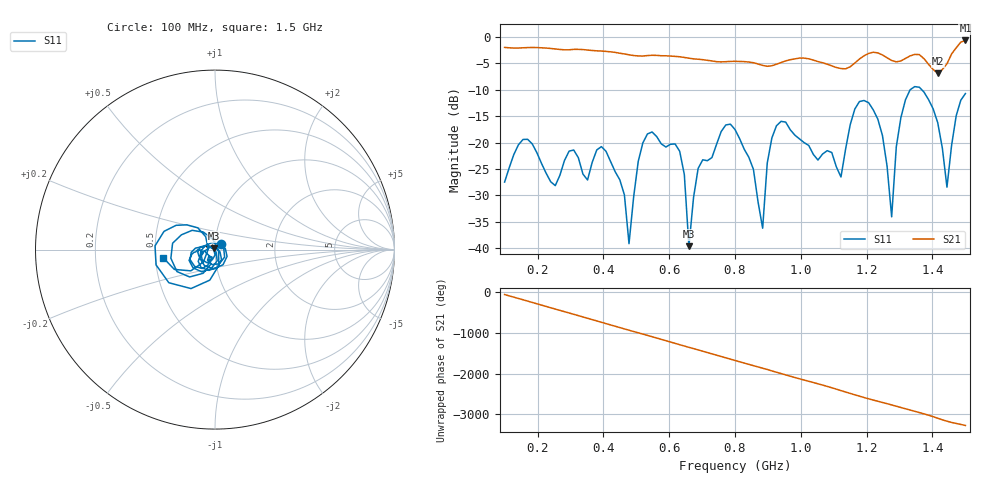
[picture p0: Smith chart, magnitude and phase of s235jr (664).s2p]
! NanoVNA-App
! Date: 2025-09-25 15:09:20
! Start: 100MHz Stop: 1,5GHz Points: 101
! S-Parameter data: F S11 S21 S12 S22
# Hz S RI R 50
!  Frequency  S11_Real  S11_Imag  S21_Real  S21_Imag  S12_Real  S12_Imag  S22_Real  S22_Imag
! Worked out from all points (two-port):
!   101 points, 100 MHz to 1.5 GHz, reference 50 ohm
!   highest |S21| = -0.65 dB at 1.5 GHz (marker M1); lowest = -6.9 dB at 1.416 GHz (marker M2)
!   |S21| within 3 dB of the highest: start of sweep to 614.1 MHz; 1.19 GHz to 1.255 GHz (64.68 MHz wide, 5.29 % of centre) (the widest 2 of 4)
!   lowest |S11| = -39.6 dB at 660 MHz (marker M3), VSWR 1.02, Z = 49.2 + j0.62 ohm
!   |S11| at or under -10 dB: start of sweep to 1.332 GHz; 1.368 GHz to end of sweep
!   S12 and S22 are empty: the file has one direction only
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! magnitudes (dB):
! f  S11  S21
! 100 MHz  -27.5  -2.0
! 156 MHz  -19.4  -2.0
! 338 MHz  -26.0  -2.4
! 408 MHz  -21.6  -2.7
! 478 MHz  -39.1  -3.4
! 520 MHz  -20.1  -3.6
! 576 MHz  -20.2  -3.5
! 632 MHz  -21.6  -3.7
! 660 MHz  -39.6  -4.0
! 688 MHz  -24.9  -4.2
! 800 MHz  -17.5  -4.6
! 884 MHz  -36.2  -5.4
! 926 MHz  -16.8  -5.1
! 1.038 GHz  -22.2  -4.4
! 1.122 GHz  -26.5  -6.0
! 1.206 GHz  -12.4  -3.1
! 1.276 GHz  -34.1  -4.4
! 1.29 GHz  -20.8  -4.7
! 1.332 GHz  -10.0  -3.6
! 1.416 GHz  -16.2  -6.9
! 1.444 GHz  -28.4  -5.1
! 1.5 GHz  -10.7  -0.6
